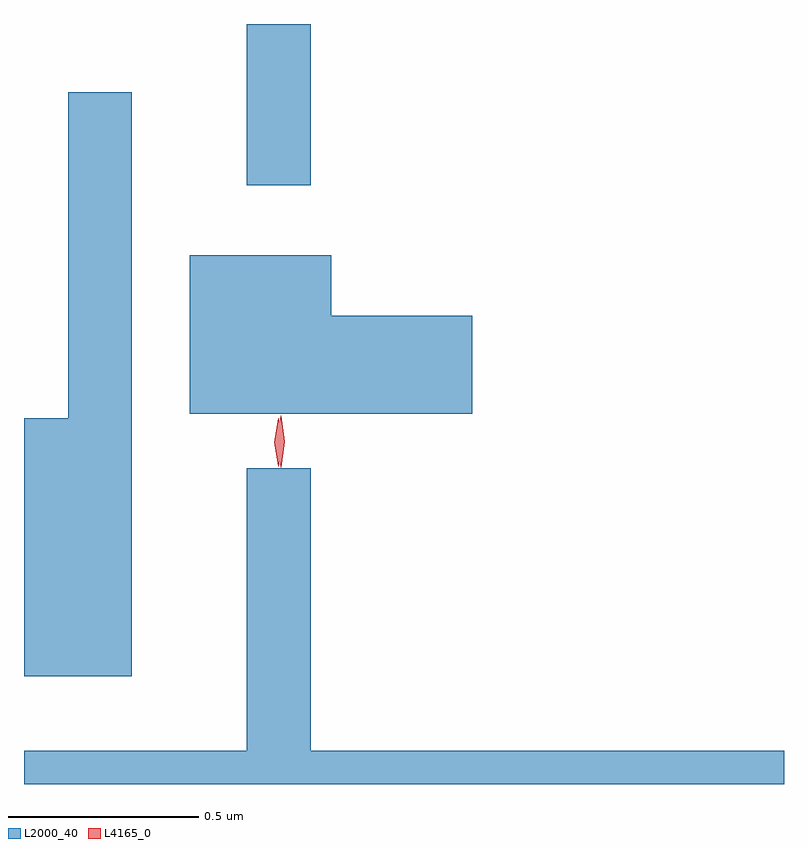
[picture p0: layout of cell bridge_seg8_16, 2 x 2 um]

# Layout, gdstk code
import gdstk
lib = gdstk.Library(unit=1e-6, precision=1e-09)
def R(c, l, rs):  # rectangles x0, y0, x1, y1
    for r in rs: c.add(gdstk.rectangle(r[:2], r[2:], *l))
def P(c, l, *ps):  # polygons
    for p in ps: c.add(gdstk.Polygon(p, *l))
L2000_40 = (2000, 40)
L4165_0 = (4165, 0)

bridge_seg8_16 = lib.new_cell('bridge_seg8_16')
R(bridge_seg8_16, L2000_40, [(1733.011,1920.313,1733.179,1920.737)])
P(bridge_seg8_16, L2000_40, [(1732.709,1920.558),(1732.541,1920.558),(1732.541,1919.699),(1732.425,1919.699),(1732.425,1919.021),(1732.709,1919.021)],
  [(1733.604,1919.969),(1733.234,1919.969),(1733.234,1920.129),(1732.861,1920.129),(1732.861,1919.711),(1733.604,1919.711)],
  [(1734.425,1918.824),(1733.179,1918.824),(1733.179,1919.568),(1733.011,1919.568),(1733.011,1918.824),(1732.425,1918.824),(1732.425,1918.737),(1734.425,1918.737)])
P(bridge_seg8_16, L4165_0, [(1733.101,1919.57),(1733.101,1919.57),(1733.091,1919.638),(1733.101,1919.706),(1733.101,1919.706),(1733.102,1919.706),(1733.111,1919.638),(1733.102,1919.57)],
  [(1733.094,1919.573),(1733.084,1919.636),(1733.094,1919.699),(1733.094,1919.7),(1733.095,1919.699),(1733.104,1919.636),(1733.095,1919.573),(1733.095,1919.573)])

lib.write_gds('bridge_seg8_16.gds')
